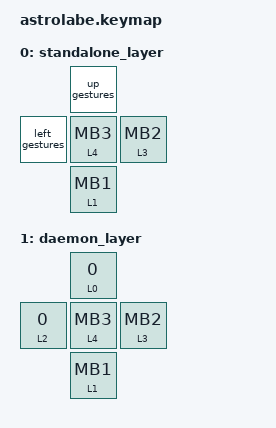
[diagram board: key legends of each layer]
// SPDX-FileCopyrightText: 2026 Dylan Lee
// SPDX-License-Identifier: Apache-2.0

#include <behaviors.dtsi>
#include <dt-bindings/zmk/bt.h>
#include <dt-bindings/zmk/outputs.h>
#include <dt-bindings/zmk/pointing.h>

// Two layers, selected by the route rather than by any binding.
//
//   0 standalone -- the device is its own HID mouse. Up and Left carry no mouse button, so they
//                   are free to host recovery and radio gestures.
//   1 daemon     -- a daemon owns the route. Plain control-bit passthrough, no arbitration in
//                   front of it, so host-side chords stay immediate.
//
// astrolabe_route_claim/release drive layer 1 (CONFIG_ASTROLABE_DAEMON_LAYER). Nothing here may
// bind a layer behavior: the route moves on its own when a cable is pulled or a daemon dies, and
// a second writer would leave the two permanently out of step.
//
// The gestures exist only on layer 0. That is the point of the split -- a tap-dance has to wait
// out its term before it can know a tap was single, and paying that on a daemon control bit
// would be the same mistake the combos made.
//
//   double-tap Up     toggle USB/BLE output
//   double-tap Left   next BLE profile
//   hold Up 3s        bootloader
//   hold Left 3s      clear the active BLE profile's bond
//
// The bootloader gesture confirms itself by mounting its UF2 drive; the other three report through
// the status LED (src/indicator.c), which is the only reason they are distinguishable from doing
// nothing at all. Reset is deliberately absent -- the hardware power switch covers
// it, and BT_CLR has no hardware equivalent, so it is the one that needs the gesture. Without it
// a bonded profile can never be freed: ZMK accepts a pairing only onto an open slot
// (pairing_allowed_for_current_profile), so all five slots would eventually become unusable.

/ {
    behaviors {
        // Held past the tap-dance term below, these resolve to recovery. The tap-dance is pressed
        // by its own timer, so its 400 ms is charged before this one starts: 2600 + 400 is the
        // 3 s the gesture advertises.
        //
        // A hold-tap hands exactly one parameter to each binding and zero-fills the other, which
        // is why the hold side is invoked by command rather than written inline. BT_CLR is
        // (BT_CLR_CMD, 0), so the zero fill happens to be the argument it wants; a command taking
        // a real second parameter, such as BT_SEL, could not be bound this way.
        up_recover: up_recover {
            compatible = "zmk,behavior-hold-tap";
            #binding-cells = <2>;
            tapping-term-ms = <2600>;
            flavor = "tap-preferred";
            bindings = <&bootloader>, <&astro_bit>;
        };

        left_recover: left_recover {
            compatible = "zmk,behavior-hold-tap";
            #binding-cells = <2>;
            tapping-term-ms = <2600>;
            flavor = "tap-preferred";
            bindings = <&bt>, <&astro_bit>;
        };

        // Second tap fires immediately on keydown -- tap-dance resolves at once when the counter
        // reaches its binding count -- so only the single-tap path pays this term, and on Up and
        // Left that path is a no-op in standalone. The window is measured from the first press,
        // not from the release, so it has to cover a whole press-release-press: 250 ms was under
        // Windows' own 500 ms double-click default and was unhittable on a stiff five-way.
        up_gestures: up_gestures {
            compatible = "zmk,behavior-tap-dance";
            #binding-cells = <0>;
            tapping-term-ms = <400>;
            bindings = <&up_recover 0 0>, <&astro_out>;
        };

        left_gestures: left_gestures {
            compatible = "zmk,behavior-tap-dance";
            #binding-cells = <0>;
            tapping-term-ms = <400>;
            bindings = <&left_recover BT_CLR_CMD 2>, <&bt BT_NXT>;
        };
    };

    keymap {
        compatible = "zmk,keymap";

        // Up, Down, Left, Right, Center. param1 is the frozen protocol bit;
        // param2 is the standalone HID mouse-button mask (zero means reserved).
        standalone_layer {
            bindings = <
                &up_gestures
                &astro 1 MB1
                &left_gestures
                &astro 3 MB2
                &astro 4 MB3
            >;
        };

        daemon_layer {
            bindings = <
                &astro 0 0
                &astro 1 MB1
                &astro 2 0
                &astro 3 MB2
                &astro 4 MB3
            >;
        };
    };
};
